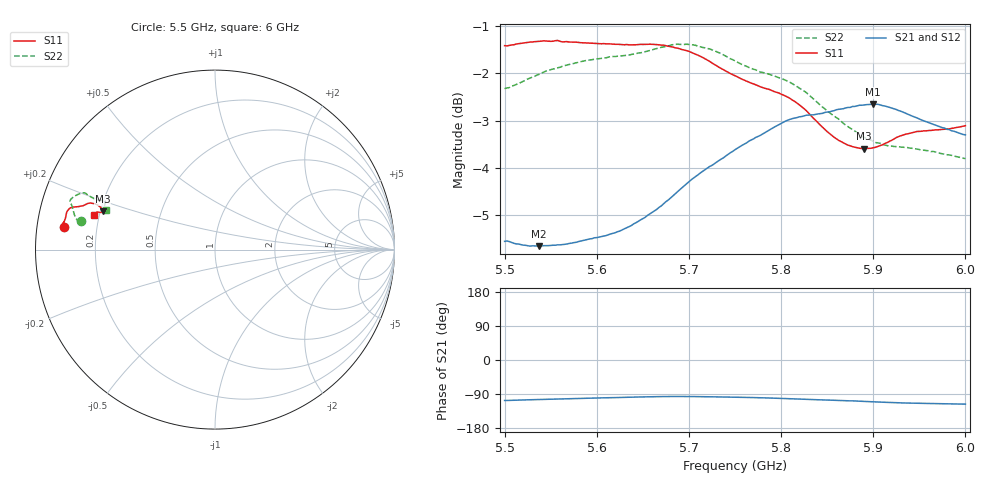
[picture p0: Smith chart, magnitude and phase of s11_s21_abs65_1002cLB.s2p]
! MS46122B
! 1919307/90821646
! 6/13/2022 11:55:55 AM
! C:\USERS\PC_\DESKTOP\CARACTERIZACION\MEDICIONES\BANCHA ESTRECHA\55_6GHZ\S11_S21_ABS65_1002CL.S2P
! CHANNEL.1
! TR.MEASUREMENT
! CORRECTED.DATA
# GHZ S RI R 50.0
! FREQ.GHZ  S11RE  S11IM  S21RE  S21IM  S12RE  S12IM  S22RE  S22IM
!; PortSelection: Port_12
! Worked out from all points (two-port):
!   201 points, 5.5 GHz to 6 GHz, reference 50 ohm
!   highest |S21| = -2.65 dB at 5.9 GHz (marker M1); lowest = -5.6 dB at 5.537 GHz (marker M2)
!   |S21| within 3 dB of the highest: start of sweep to end of sweep
!   lowest |S11| = -3.6 dB at 5.89 GHz (marker M3), VSWR 4.91, Z = 10.5 + j7.89 ohm
!   |S11| at or under -10 dB: nowhere
!   |S22| runs from -3.8 to -1.4 dB; largest |S21 - S12| = 0.016
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5.5  -0.8401 0.1243  -0.1526 -0.5055  -0.1468 -0.5059  -0.748 0.1606
5.515  -0.8435 0.1294  -0.1437 -0.5045  -0.1352 -0.5019  -0.758 0.1589
5.5375  -0.8464 0.1414  -0.1271 -0.5061  -0.1183 -0.5041  -0.7731 0.1724
5.585  -0.841 0.1551  -0.1032 -0.519  -0.0912 -0.5212  -0.789 0.2151
5.6175  -0.8357 0.1679  -0.0866 -0.5313  -0.0761 -0.5341  -0.7941 0.2315
5.64  -0.8301 0.1872  -0.0768 -0.5455  -0.0663 -0.5466  -0.7963 0.2417
5.6675  -0.824 0.212  -0.0662 -0.5695  -0.0558 -0.5719  -0.8046 0.2573
5.685  -0.8143 0.2252  -0.0659 -0.5888  -0.0549 -0.5911  -0.8087 0.2676
5.705  -0.8001 0.2343  -0.0696 -0.6118  -0.0622 -0.6156  -0.803 0.281
5.75  -0.7518 0.2415  -0.0942 -0.6528  -0.0899 -0.6543  -0.7575 0.3101
5.7725  -0.7321 0.2458  -0.1093 -0.6708  -0.1027 -0.6722  -0.7359 0.3158
5.795  -0.7144 0.2543  -0.1324 -0.6861  -0.1264 -0.6887  -0.7219 0.3143
5.8175  -0.6914 0.2591  -0.159 -0.6953  -0.1537 -0.6981  -0.7064 0.3031
5.835  -0.6653 0.2541  -0.1794 -0.6951  -0.1743 -0.6955  -0.6873 0.2909
5.8625  -0.6339 0.231  -0.2094 -0.6968  -0.2013 -0.6938  -0.6543 0.2775
5.875  -0.6286 0.2196  -0.2239 -0.6958  -0.2095 -0.695  -0.639 0.2738
5.89  -0.6264 0.2123  -0.2426 -0.6942  -0.2326 -0.6918  -0.6224 0.2735
5.9  -0.6288 0.209  -0.2564 -0.6906  -0.2468 -0.6866  -0.6154 0.2728
5.9175  -0.6403 0.2074  -0.2741 -0.6778  -0.2666 -0.6728  -0.6111 0.2637
5.9375  -0.6526 0.21  -0.288 -0.6588  -0.2815 -0.6503  -0.6149 0.2477
5.9675  -0.6609 0.2057  -0.2957 -0.6347  -0.284 -0.6251  -0.6181 0.2196
6  -0.6719 0.1933  -0.3049 -0.6121  -0.2893 -0.6103  -0.6065 0.2206
